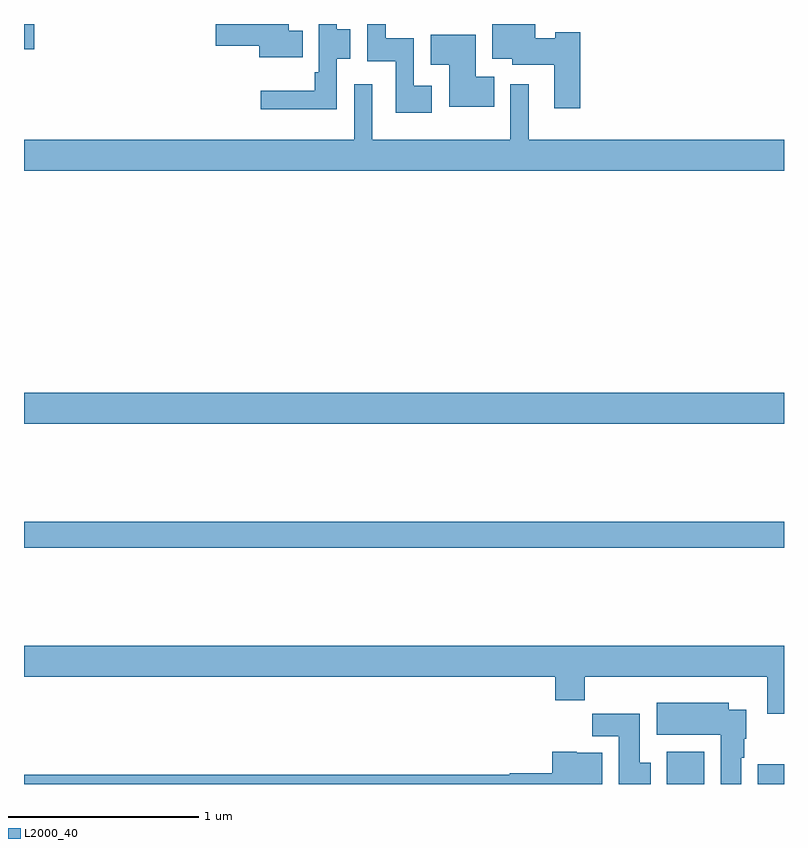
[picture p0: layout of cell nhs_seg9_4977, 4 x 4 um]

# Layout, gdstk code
import gdstk
lib = gdstk.Library(unit=1e-6, precision=1e-09)
def R(c, l, rs):  # rectangles x0, y0, x1, y1
    for r in rs: c.add(gdstk.rectangle(r[:2], r[2:], *l))
def P(c, l, *ps):  # polygons
    for p in ps: c.add(gdstk.Polygon(p, *l))
L2000_40 = (2000, 40)

nhs_seg9_4977 = lib.new_cell('nhs_seg9_4977')
R(nhs_seg9_4977, L2000_40, [(402.383,1218.5,402.58,1218.67), (402.863,1218.5,403,1218.604), (399,1219.744,403,1219.88), (399,1220.396,403,1220.56), (399,1222.366,399.055,1222.5)])
P(nhs_seg9_4977, L2000_40, [(400.466,1222.465),(400.393,1222.465),(400.393,1222.5),(400.008,1222.5),(400.008,1222.385),(400.238,1222.385),(400.238,1222.325),(400.466,1222.325)],
  [(400.647,1222.318),(400.717,1222.318),(400.717,1222.473),(400.647,1222.473),(400.647,1222.5),(400.551,1222.5),(400.551,1222.246),(400.531,1222.246),(400.531,1222.15),(400.245,1222.15),(400.245,1222.052),(400.647,1222.052)],
  [(401.146,1222.174),(401.052,1222.174),(401.052,1222.426),(400.905,1222.426),(400.905,1222.5),(400.806,1222.5),(400.806,1222.304),(400.956,1222.304),(400.956,1222.034),(401.146,1222.034)],
  [(401.927,1222.457),(401.796,1222.457),(401.796,1222.426),(401.692,1222.426),(401.692,1222.5),(401.465,1222.5),(401.465,1222.316),(401.57,1222.316),(401.57,1222.286),(401.792,1222.286),(401.792,1222.056),(401.927,1222.056)],
  [(401.474,1222.222),(401.377,1222.222),(401.377,1222.444),(401.141,1222.444),(401.141,1222.286),(401.237,1222.286),(401.237,1222.064),(401.474,1222.064)],
  [(403,1221.892),(401.656,1221.892),(401.656,1222.183),(401.559,1222.183),(401.559,1221.892),(400.833,1221.892),(400.833,1222.183),(400.737,1222.183),(400.737,1221.892),(399,1221.892),(399,1221.728),(403,1221.728)],
  [(399,1219.064),(401.795,1219.064),(401.795,1218.94),(401.951,1218.94),(401.951,1219.064),(402.911,1219.064),(402.911,1218.87),(403,1218.87),(403,1219.228),(399,1219.228)],
  [(402.775,1218.638),(402.79,1218.638),(402.79,1218.738),(402.802,1218.738),(402.802,1218.892),(402.709,1218.892),(402.709,1218.928),(402.329,1218.928),(402.329,1218.758),(402.668,1218.758),(402.668,1218.5),(402.775,1218.5)],
  [(402.298,1218.612),(402.241,1218.612),(402.241,1218.87),(401.992,1218.87),(401.992,1218.752),(402.131,1218.752),(402.131,1218.5),(402.298,1218.5)],
  [(402.043,1218.664),(401.91,1218.664),(401.91,1218.67),(401.78,1218.67),(401.78,1218.556),(401.556,1218.556),(401.556,1218.548),(399,1218.548),(399,1218.5),(402.043,1218.5)])

lib.write_gds('nhs_seg9_4977.gds')
